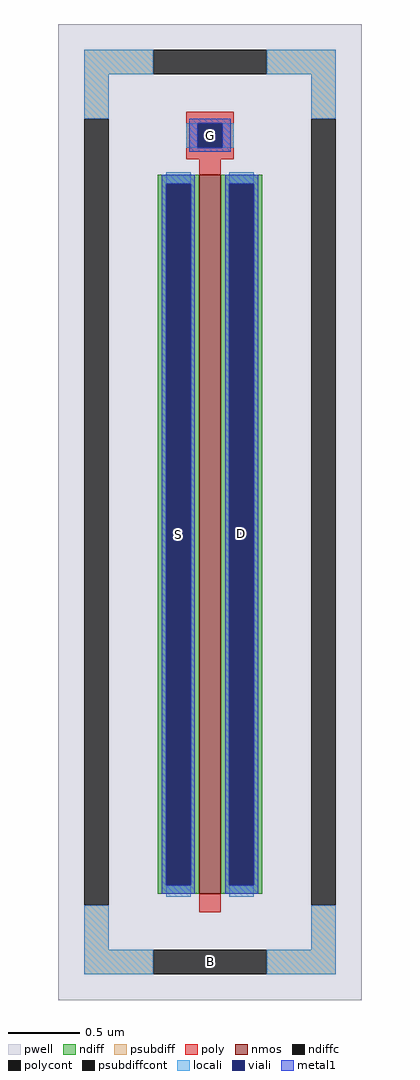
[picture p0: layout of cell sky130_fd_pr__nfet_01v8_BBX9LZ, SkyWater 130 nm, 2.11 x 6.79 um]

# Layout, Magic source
magic
tech sky130A
magscale 1 2
<< pwell >>
rect -211 -679 211 679
<< nmos >>
rect -15 -531 15 469
<< ndiff >>
rect -73 457 -15 469
rect -73 -519 -61 457
rect -27 -519 -15 457
rect -73 -531 -15 -519
rect 15 457 73 469
rect 15 -519 27 457
rect 61 -519 73 457
rect 15 -531 73 -519
<< ndiffc >>
rect -61 -519 -27 457
rect 27 -519 61 457
<< psubdiff >>
rect -175 609 -79 643
rect 79 609 175 643
rect -175 547 -141 609
rect 141 547 175 609
rect -175 -609 -141 -547
rect 141 -609 175 -547
rect -175 -643 -79 -609
rect 79 -643 175 -609
<< psubdiffcont >>
rect -79 609 79 643
rect -175 -547 -141 547
rect 141 -547 175 547
rect -79 -643 79 -609
<< poly >>
rect -33 541 33 557
rect -33 507 -17 541
rect 17 507 33 541
rect -33 491 33 507
rect -15 469 15 491
rect -15 -557 15 -531
<< polycont >>
rect -17 507 17 541
<< locali >>
rect -175 609 -79 643
rect 79 609 175 643
rect -175 547 -141 609
rect 141 547 175 609
rect -33 507 -17 541
rect 17 507 33 541
rect -61 457 -27 473
rect -61 -535 -27 -519
rect 27 457 61 473
rect 27 -535 61 -519
rect -175 -609 -141 -547
rect 141 -609 175 -547
rect -175 -643 -79 -609
rect 79 -643 175 -609
<< viali >>
rect -17 507 17 541
rect -61 -519 -27 457
rect 27 -519 61 457
<< metal1 >>
rect -29 541 29 547
rect -29 507 -17 541
rect 17 507 29 541
rect -29 501 29 507
rect -67 457 -21 469
rect -67 -519 -61 457
rect -27 -519 -21 457
rect -67 -531 -21 -519
rect 21 457 67 469
rect 21 -519 27 457
rect 61 -519 67 457
rect 21 -531 67 -519
<< labels >>
flabel metal1 s -44 -31 -44 -31 0 FreeSans 480 0 0 0 S
port 8 nsew
flabel metal1 s 44 -30 44 -30 0 FreeSans 480 0 0 0 D
port 9 nsew
flabel metal1 s 0 524 0 524 0 FreeSans 480 0 0 0 G
port 10 nsew
flabel locali s 0 -626 0 -626 0 FreeSans 480 0 0 0 B
port 11 nsew
<< properties >>
string FIXED_BBOX -158 -626 158 626
string gencell sky130_fd_pr__nfet_01v8
string library sky130
string parameters w 5.0 l 0.15 m 1 nf 1 diffcov 100 polycov 100 guard 1 glc 1 grc 1 gtc 1 gbc 1 tbcov 100 rlcov 100 topc 1 botc 0 poverlap 0 doverlap 1 lmin 0.15 wmin 0.42 compatible {sky130_fd_pr__nfet_01v8 sky130_fd_pr__nfet_01v8_lvt  sky130_fd_bs_flash__special_sonosfet_star  sky130_fd_pr__nfet_g5v0d10v5 sky130_fd_pr__nfet_05v0_nvt  sky130_fd_pr__nfet_03v3_nvt} full_metal 1 viasrc 100 viadrn 100 viagate 100 viagb 0 viagr 0 viagl 0 viagt 0
<< end >>
